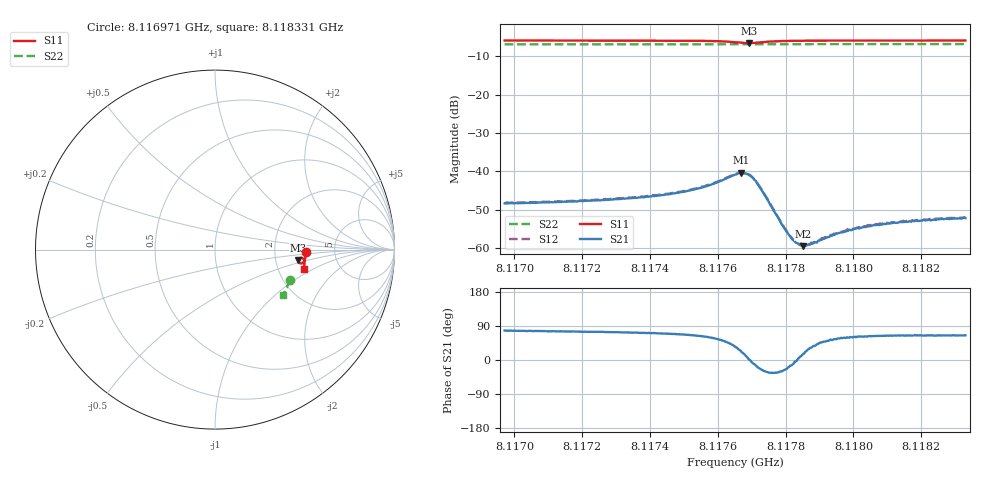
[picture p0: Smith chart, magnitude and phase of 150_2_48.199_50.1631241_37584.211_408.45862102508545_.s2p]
#  HZ  S  RI  R  50.00
! Rohde & Schwarz Vector Network Analyzer
! Rohde-Schwarz,ZNB20-2Port,1311601062101988,3.16
! Created: UTC 3/20/2024, 11:42:47 AM
! freq[Hz]  re:S11  im:S11  re:S21  im:S21  re:S12  im:S12  re:S22  im:S22
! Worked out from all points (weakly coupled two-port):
!   401 points, 8.116971 GHz to 8.118331 GHz, reference 50 ohm
!   highest |S21| = -40.38 dB at 8.117668 GHz (marker M1); lowest = -59.5 dB at 8.117851 GHz (marker M2)
!   lowest |S11| = -6.6 dB at 8.117692 GHz (marker M3), VSWR 2.75, Z = 134 - j20 ohm
!   |S11| at or under -10 dB: nowhere
!   |S22| runs from -6.9 to -6.8 dB; largest |S21 - S12| = 0.00033
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8.1169709e9  0.506 -0.0147  0.000812 0.00374  0.000888 0.00381  0.4183 -0.1677
8.1171987e9  0.5047 -0.033  0.00109 0.00397  0.00115 0.00401  0.4128 -0.1825
8.1174264e9  0.5016 -0.0529  0.00166 0.00457  0.00169 0.00465  0.4066 -0.1971
8.1174944e9  0.4994 -0.0602  0.00206 0.00498  0.00217 0.00502  0.4045 -0.2016
8.1175488e9  0.4963 -0.0668  0.00274 0.00542  0.00287 0.00552  0.4028 -0.2051
8.1175862e9  0.4922 -0.0719  0.00363 0.00582  0.00376 0.00586  0.4014 -0.2076
8.1176508e9  0.4743 -0.0765  0.00738 0.00524  0.0076 0.0053  0.3988 -0.2114
8.1176678e9  0.467 -0.072  0.00876 0.00386  0.00887 0.00378  0.3981 -0.212
8.1176916e9  0.463 -0.0583  0.00901 0.000327  0.00915 0.000292  0.3974 -0.2129
8.1177086e9  0.4683 -0.0493  0.00757 -0.00153  0.00765 -0.00174  0.3973 -0.2135
8.1177256e9  0.4765 -0.0454  0.00554 -0.00245  0.00561 -0.00256  0.3971 -0.2147
8.1177936e9  0.4949 -0.0549  0.00169 -0.000878  0.0017 -0.000936  0.3959 -0.2192
8.117814e9  0.4965 -0.0585  0.00137 -0.000361  0.00137 -0.000439  0.3954 -0.2206
8.1178344e9  0.4974 -0.0617  0.00116 -4.21e-06  0.00121 -1.66e-05  0.3947 -0.222
8.1178513e9  0.4979 -0.0642  0.00102 0.000284  0.00107 0.000254  0.3942 -0.2231
8.1178785e9  0.4983 -0.0676  0.000938 0.000645  0.000958 0.000669  0.3933 -0.2249
8.1179533e9  0.4982 -0.076  0.000855 0.0013  0.000873 0.00131  0.391 -0.2297
8.1179873e9  0.4981 -0.0793  0.000892 0.00149  0.000922 0.00151  0.3897 -0.2317
8.1180553e9  0.4975 -0.0856  0.000894 0.00175  0.000912 0.00176  0.3874 -0.2359
8.1181063e9  0.4968 -0.0899  0.000919 0.00189  0.000916 0.00191  0.3857 -0.2391
8.1182287e9  0.495 -0.0999  0.000969 0.00208  0.00103 0.00217  0.3815 -0.2466
8.1183307e9  0.4933 -0.1078  0.00104 0.00223  0.00108 0.00228  0.3777 -0.2527
